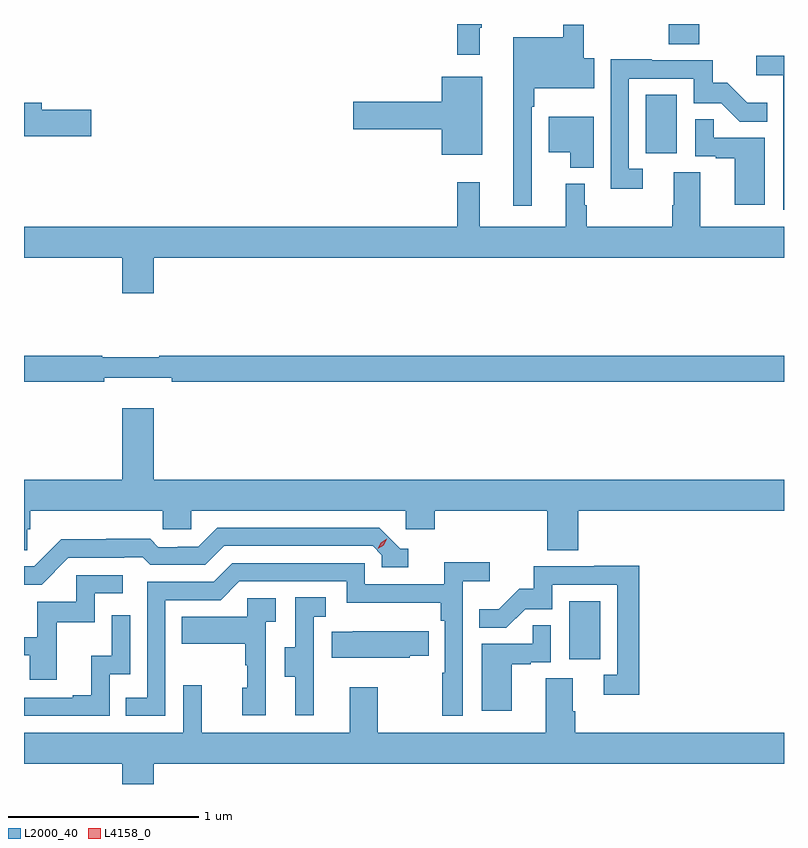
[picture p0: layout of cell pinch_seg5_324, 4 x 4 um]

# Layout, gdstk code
import gdstk
lib = gdstk.Library(unit=1e-6, precision=1e-09)
def R(c, l, rs):  # rectangles x0, y0, x1, y1
    for r in rs: c.add(gdstk.rectangle(r[:2], r[2:], *l))
def P(c, l, *ps):  # polygons
    for p in ps: c.add(gdstk.Polygon(p, *l))
L2000_40 = (2000, 40)
L4158_0 = (4158, 0)

pinch_seg5_324 = lib.new_cell('pinch_seg5_324')
R(pinch_seg5_324, L2000_40, [(934.592,881.286,934.756,881.593), (934.994,883.95,935.158,884.257), (935.116,884.524,935.276,884.63)])
P(pinch_seg5_324, L2000_40, [(934.12,884.609),(934.132,884.609),(934.132,884.63),(934.003,884.63),(934.003,884.469),(934.12,884.469)],
  [(934.395,884.195),(934.408,884.195),(934.408,884.291),(934.723,884.291),(934.723,884.449),(934.669,884.449),(934.669,884.626),(934.56,884.626),(934.56,884.56),(934.298,884.56),(934.298,883.674),(934.395,883.674)],
  [(935.722,884.462),(935.577,884.462),(935.577,884.36),(935.718,884.36),(935.718,883.653),(935.722,883.653)],
  [(934.978,883.869),(934.905,883.869),(934.905,884.343),(935.247,884.343),(935.247,884.214),(935.391,884.214),(935.489,884.116),(935.633,884.116),(935.633,884.215),(935.529,884.215),(935.422,884.322),(935.346,884.322),(935.346,884.439),(935.027,884.439),(935.027,884.444),(934.809,884.444),(934.809,883.764),(934.978,883.764)],
  [(934.135,884.353),(933.92,884.353),(933.92,884.222),(933.456,884.222),(933.456,884.075),(933.92,884.075),(933.92,883.943),(934.135,883.943)],
  [(932.077,884.18),(931.816,884.18),(931.816,884.216),(931.722,884.216),(931.722,884.038),(932.077,884.038)],
  [(934.72,884.143),(934.484,884.143),(934.484,883.955),(934.598,883.955),(934.598,883.874),(934.72,883.874)],
  [(935.62,884.031),(935.351,884.031),(935.351,884.129),(935.256,884.129),(935.256,883.935),(935.363,883.935),(935.363,883.923),(935.462,883.923),(935.462,883.68),(935.62,883.68)],
  [(932.404,883.4),(935.722,883.4),(935.722,883.564),(935.281,883.564),(935.281,883.85),(935.141,883.85),(935.141,883.676),(935.134,883.676),(935.134,883.564),(934.684,883.564),(934.684,883.676),(934.672,883.676),(934.672,883.789),(934.574,883.789),(934.574,883.564),(934.121,883.564),(934.121,883.798),(934.003,883.798),(934.003,883.564),(931.722,883.564),(931.722,883.4),(932.24,883.4),(932.24,883.212),(932.404,883.212)],
  [(932.144,882.767),(932.5,882.767),(932.5,882.748),(935.722,882.748),(935.722,882.884),(932.435,882.884),(932.435,882.877),(932.135,882.877),(932.135,882.884),(931.722,882.884),(931.722,882.748),(932.144,882.748)],
  [(931.739,881.97),(931.754,881.97),(931.754,882.068),(932.451,882.068),(932.451,881.97),(932.601,881.97),(932.601,882.068),(933.732,882.068),(933.732,881.97),(933.884,881.97),(933.884,882.068),(934.475,882.068),(934.475,881.86),(934.64,881.86),(934.64,882.068),(935.722,882.068),(935.722,882.232),(932.404,882.232),(932.404,882.607),(932.24,882.607),(932.24,882.232),(931.722,882.232),(931.722,881.86),(931.739,881.86)],
  [(931.956,881.82),(932.249,881.82),(932.249,881.823),(932.348,881.823),(932.387,881.784),(932.676,881.784),(932.775,881.883),(933.558,881.883),(933.606,881.835),(933.606,881.772),(933.745,881.772),(933.745,881.868),(933.702,881.868),(933.591,881.979),(932.738,881.979),(932.639,881.88),(932.532,881.88),(932.532,881.877),(932.429,881.877),(932.387,881.92),(932.154,881.92),(932.154,881.917),(931.918,881.917),(931.776,881.775),(931.722,881.775),(931.722,881.679),(931.815,881.679)],
  [(932.466,881.598),(932.757,881.598),(932.856,881.697),(933.42,881.697),(933.42,881.585),(933.916,881.585),(933.916,881.489),(933.936,881.489),(933.936,881.216),(933.924,881.216),(933.924,880.989),(934.032,880.989),(934.032,881.696),(934.174,881.696),(934.174,881.798),(933.935,881.798),(933.935,881.682),(933.516,881.682),(933.516,881.793),(932.819,881.793),(932.72,881.694),(932.37,881.694),(932.37,881.085),(932.257,881.085),(932.257,880.989),(932.466,880.989)],
  [(934.961,881.78),(934.723,881.78),(934.723,881.775),(934.405,881.775),(934.405,881.658),(934.328,881.658),(934.221,881.551),(934.117,881.551),(934.117,881.452),(934.261,881.452),(934.359,881.55),(934.503,881.55),(934.503,881.679),(934.845,881.679),(934.845,881.205),(934.773,881.205),(934.773,881.1),(934.961,881.1)],
  [(931.895,881.481),(932.094,881.481),(932.094,881.634),(932.242,881.634),(932.242,881.73),(931.998,881.73),(931.998,881.589),(931.793,881.589),(931.793,881.403),(931.722,881.403),(931.722,881.307),(931.751,881.307),(931.751,881.178),(931.895,881.178)],
  [(933.248,881.205),(933.246,881.205),(933.246,881.509),(933.31,881.509),(933.31,881.612),(933.15,881.612),(933.15,881.349),(933.095,881.349),(933.095,881.194),(933.149,881.194),(933.149,880.992),(933.248,880.992)],
  [(932.994,881.483),(933.046,881.483),(933.046,881.607),(932.898,881.607),(932.898,881.509),(932.551,881.509),(932.551,881.369),(932.886,881.369),(932.886,881.255),(932.896,881.255),(932.896,881.136),(932.87,881.136),(932.87,880.992),(932.994,880.992)],
  [(932.172,881.208),(932.28,881.208),(932.28,881.518),(932.184,881.518),(932.184,881.306),(932.075,881.306),(932.075,881.098),(931.979,881.098),(931.979,881.085),(931.722,881.085),(931.722,880.989),(932.172,880.989)],
  [(934.288,881.259),(934.388,881.259),(934.388,881.271),(934.494,881.271),(934.494,881.465),(934.399,881.465),(934.399,881.367),(934.13,881.367),(934.13,881.016),(934.288,881.016)],
  [(933.753,881.305),(933.851,881.305),(933.851,881.434),(933.451,881.434),(933.451,881.431),(933.343,881.431),(933.343,881.294),(933.753,881.294)],
  [(932.404,880.736),(935.722,880.736),(935.722,880.9),(934.622,880.9),(934.622,881.012),(934.609,881.012),(934.609,881.186),(934.469,881.186),(934.469,880.9),(933.585,880.9),(933.585,881.14),(933.437,881.14),(933.437,880.9),(932.657,880.9),(932.657,881.149),(932.559,881.149),(932.559,880.9),(931.722,880.9),(931.722,880.736),(932.24,880.736),(932.24,880.63),(932.404,880.63)])
P(pinch_seg5_324, L4158_0, [(933.584,881.867),(933.584,881.867),(933.6,881.9),(933.631,881.92),(933.631,881.92),(933.631,881.919),(933.615,881.887),(933.584,881.867)])

lib.write_gds('pinch_seg5_324.gds')
